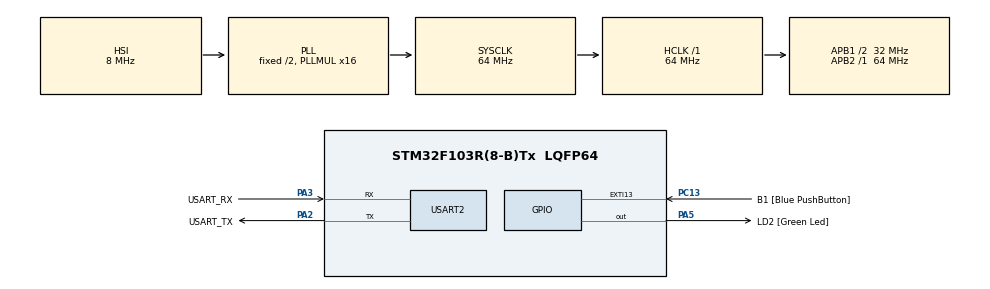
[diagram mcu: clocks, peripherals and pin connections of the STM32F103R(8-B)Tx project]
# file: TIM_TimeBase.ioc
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Mcu.Family=STM32F1
Mcu.Name=STM32F103R(8-B)Tx
Mcu.Package=LQFP64
NVIC.EXTI15_10_IRQn=true\:0\:0\:false\:false\:true\:true\:true\:true
NVIC.PriorityGroup=NVIC_PRIORITYGROUP_4
NVIC.TIM3_IRQn=true\:0\:0\:false\:false\:true\:true\:true\:true
PA13.GPIO_Label=TMS
PA13.Mode=Serial_Wire
PA13.Signal=SYS_JTMS-SWDIO
PA14.GPIO_Label=TCK
PA14.Mode=Serial_Wire
PA14.Signal=SYS_JTCK-SWCLK
PA2.GPIO_Label=USART_TX
PA2.GPIO_Mode=GPIO_MODE_AF_PP
PA2.GPIO_PuPd=GPIO_NOPULL
PA2.GPIO_Speed=GPIO_SPEED_FREQ_LOW
PA2.Mode=Asynchronous
PA2.Signal=USART2_TX
PA3.GPIO_Label=USART_RX
PA3.GPIO_Mode=GPIO_MODE_AF_PP
PA3.GPIO_PuPd=GPIO_NOPULL
PA3.GPIO_Speed=GPIO_SPEED_FREQ_LOW
PA3.Mode=Asynchronous
PA3.Signal=USART2_RX
PA5.GPIO_Label=LD2 [Green Led]
PA5.GPIO_ModeDefaultOutputPP=GPIO_MODE_OUTPUT_PP
PA5.GPIO_PuPd=GPIO_NOPULL
PA5.GPIO_Speed=GPIO_SPEED_FREQ_LOW
PA5.Signal=GPIO_Output
PB3.GPIO_Label=SWO
PB3.Signal=SYS_JTDO-TRACESWO
PC13-TAMPER-RTC.GPIO_Label=B1 [Blue PushButton]
PC13-TAMPER-RTC.GPIO_PuPd=GPIO_NOPULL
PC13-TAMPER-RTC.Signal=GPXTI13
PC14-OSC32_IN.Signal=RCC_OSC32_IN
PC15-OSC32_OUT.Signal=RCC_OSC32_OUT
PD0-OSC_IN.Signal=RCC_OSC_IN
PD1-OSC_OUT.Signal=RCC_OSC_OUT
ProjectManager.HeapSize=0x200
ProjectManager.StackSize=0x400
ProjectManager.TargetToolchain=STM32CubeIDE
RCC.AHBFreq_Value=64000000
RCC.APB1CLKDivider=RCC_HCLK_DIV2
RCC.APB1Freq_Value=32000000
RCC.APB1TimFreq_Value=64000000
RCC.APB2Freq_Value=64000000
RCC.APB2TimFreq_Value=64000000
RCC.HCLKFreq_Value=64000000
RCC.PLLMUL=RCC_PLL_MUL16
RCC.RTCClockSelection=RCC_RTCCLKSOURCE_LSE
RCC.SYSCLKFreq_VALUE=64000000
RCC.SYSCLKSource=RCC_SYSCLKSOURCE_PLLCLK
RCC.USBFreq_Value=64000000
TIM3.AutoReloadPreload=TIM_AUTORELOAD_PRELOAD_ENABLE
TIM3.Period=999
TIM3.Prescaler=63
USART2.VirtualMode=VM_ASYNC
VP_TIM3_VS_ClockSourceINT.Mode=Internal
board=NUCLEO-F103RB

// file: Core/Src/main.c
/* USER CODE BEGIN Header */
/**
  ******************************************************************************
  * @file           : main.c
  * @brief          : Main program body
  ******************************************************************************
  * @attention
  *
  * Copyright (c) 2022 STMicroelectronics.
  * All rights reserved.
  *
  * This software is licensed under terms that can be found in the LICENSE file
  * in the root directory of this software component.
  * If no LICENSE file comes with this software, it is provided AS-IS.
  *
  ******************************************************************************
  */
/* USER CODE END Header */
#include "main.h"

 TIM_HandleTypeDef htim3;

UART_HandleTypeDef huart2;

/* USER CODE BEGIN PV */
volatile int gTimerCnt;
/* USER CODE END PV */

void SystemClock_Config(void);
static void MX_GPIO_Init(void);
static void MX_USART2_UART_Init(void);
static void MX_TIM3_Init(void);

/* USER CODE BEGIN 0 */
#ifdef __GNUC__
/* With GCC, small printf (option LD Linker->Libraries->Small printf
   set to 'Yes') calls __io_putchar() */
#define PUTCHAR_PROTOTYPE int __io_putchar(int ch)
#else
#define PUTCHAR_PROTOTYPE int fputc(int ch, FILE *f)
#endif /* __GNUC__ */

/**
  * @brief  Retargets the C library printf function to the USART.
  * @param  None
  * @retval None
  */
PUTCHAR_PROTOTYPE
{
  /* Place your implementation of fputc here */
  /* e.g. write a character to the USART1 and Loop until the end of transmission */
  if (ch == '\n')
    HAL_UART_Transmit (&huart2, (uint8_t*) "\r", 1, 0xFFFF);
  	HAL_UART_Transmit (&huart2, (uint8_t*) &ch, 1, 0xFFFF);

  return ch;
}
/* USER CODE END 0 */

int main(void)
{

  /* MCU Configuration--------------------------------------------------------*/

  /* Reset of all peripherals, Initializes the Flash interface and the Systick. */
  HAL_Init();

  /* Configure the system clock */
  SystemClock_Config();

  /* Initialize all configured peripherals */
  MX_GPIO_Init();
  MX_USART2_UART_Init();
  MX_TIM3_Init();
  /* USER CODE BEGIN 2 */
  if (HAL_TIM_Base_Start_IT (&htim3) != HAL_OK )
  {
	  /* Starting Error */
	  Error_Handler ();
  }
  /* USER CODE END 2 */

  /* Infinite loop */
  while (1)
  {

  }
}

void SystemClock_Config(void)
{
  RCC_OscInitTypeDef RCC_OscInitStruct = {0};
  RCC_ClkInitTypeDef RCC_ClkInitStruct = {0};

  /** Initializes the RCC Oscillators according to the specified parameters
  * in the RCC_OscInitTypeDef structure.
  */
  RCC_OscInitStruct.OscillatorType = RCC_OSCILLATORTYPE_HSI;
  RCC_OscInitStruct.HSIState = RCC_HSI_ON;
  RCC_OscInitStruct.HSICalibrationValue = RCC_HSICALIBRATION_DEFAULT;
  RCC_OscInitStruct.PLL.PLLState = RCC_PLL_ON;
  RCC_OscInitStruct.PLL.PLLSource = RCC_PLLSOURCE_HSI_DIV2;
  RCC_OscInitStruct.PLL.PLLMUL = RCC_PLL_MUL16;
  if (HAL_RCC_OscConfig(&RCC_OscInitStruct) != HAL_OK)
  {
    Error_Handler();
  }

  /** Initializes the CPU, AHB and APB buses clocks
  */
  RCC_ClkInitStruct.ClockType = RCC_CLOCKTYPE_HCLK|RCC_CLOCKTYPE_SYSCLK
                              |RCC_CLOCKTYPE_PCLK1|RCC_CLOCKTYPE_PCLK2;
  RCC_ClkInitStruct.SYSCLKSource = RCC_SYSCLKSOURCE_PLLCLK;
  RCC_ClkInitStruct.AHBCLKDivider = RCC_SYSCLK_DIV1;
  RCC_ClkInitStruct.APB1CLKDivider = RCC_HCLK_DIV2;
  RCC_ClkInitStruct.APB2CLKDivider = RCC_HCLK_DIV1;

  if (HAL_RCC_ClockConfig(&RCC_ClkInitStruct, FLASH_LATENCY_2) != HAL_OK)
  {
    Error_Handler();
  }
}

static void MX_TIM3_Init(void)
{

  TIM_ClockConfigTypeDef sClockSourceConfig = {0};
  TIM_MasterConfigTypeDef sMasterConfig = {0};

  htim3.Instance = TIM3;
  htim3.Init.Prescaler = 63;
  htim3.Init.CounterMode = TIM_COUNTERMODE_UP;
  htim3.Init.Period = 999;
  htim3.Init.ClockDivision = TIM_CLOCKDIVISION_DIV1;
  htim3.Init.AutoReloadPreload = TIM_AUTORELOAD_PRELOAD_ENABLE;
  if (HAL_TIM_Base_Init(&htim3) != HAL_OK)
  {
    Error_Handler();
  }
  sClockSourceConfig.ClockSource = TIM_CLOCKSOURCE_INTERNAL;
  if (HAL_TIM_ConfigClockSource(&htim3, &sClockSourceConfig) != HAL_OK)
  {
    Error_Handler();
  }
  sMasterConfig.MasterOutputTrigger = TIM_TRGO_RESET;
  sMasterConfig.MasterSlaveMode = TIM_MASTERSLAVEMODE_DISABLE;
  if (HAL_TIMEx_MasterConfigSynchronization(&htim3, &sMasterConfig) != HAL_OK)
  {
    Error_Handler();
  }

}

static void MX_USART2_UART_Init(void)
{

  huart2.Instance = USART2;
  huart2.Init.BaudRate = 115200;
  huart2.Init.WordLength = UART_WORDLENGTH_8B;
  huart2.Init.StopBits = UART_STOPBITS_1;
  huart2.Init.Parity = UART_PARITY_NONE;
  huart2.Init.Mode = UART_MODE_TX_RX;
  huart2.Init.HwFlowCtl = UART_HWCONTROL_NONE;
  huart2.Init.OverSampling = UART_OVERSAMPLING_16;
  if (HAL_UART_Init(&huart2) != HAL_OK)
  {
    Error_Handler();
  }

}

static void MX_GPIO_Init(void)
{
  GPIO_InitTypeDef GPIO_InitStruct = {0};

  /* GPIO Ports Clock Enable */
  __HAL_RCC_GPIOC_CLK_ENABLE();
  __HAL_RCC_GPIOD_CLK_ENABLE();
  __HAL_RCC_GPIOA_CLK_ENABLE();
  __HAL_RCC_GPIOB_CLK_ENABLE();

  /*Configure GPIO pin Output Level */
  HAL_GPIO_WritePin(LD2_GPIO_Port, LD2_Pin, GPIO_PIN_RESET);

  /*Configure GPIO pin : B1_Pin */
  GPIO_InitStruct.Pin = B1_Pin;
  GPIO_InitStruct.Mode = GPIO_MODE_IT_RISING;
  GPIO_InitStruct.Pull = GPIO_NOPULL;
  HAL_GPIO_Init(B1_GPIO_Port, &GPIO_InitStruct);

  /*Configure GPIO pin : LD2_Pin */
  GPIO_InitStruct.Pin = LD2_Pin;
  GPIO_InitStruct.Mode = GPIO_MODE_OUTPUT_PP;
  GPIO_InitStruct.Pull = GPIO_NOPULL;
  GPIO_InitStruct.Speed = GPIO_SPEED_FREQ_LOW;
  HAL_GPIO_Init(LD2_GPIO_Port, &GPIO_InitStruct);

  /* EXTI interrupt init*/
  HAL_NVIC_SetPriority(EXTI15_10_IRQn, 0, 0);
  HAL_NVIC_EnableIRQ(EXTI15_10_IRQn);

}

/* USER CODE BEGIN 4 */
void
HAL_TIM_PeriodElapsedCallback (TIM_HandleTypeDef *htim)
{
	gTimerCnt++;
	if (gTimerCnt == 1000)
	{
		gTimerCnt = 0;
		HAL_GPIO_TogglePin (LD2_GPIO_Port, LD2_Pin);
	}
}
/* USER CODE END 4 */

void Error_Handler(void)
{
  __disable_irq();
  while (1)
  {
  }
}
